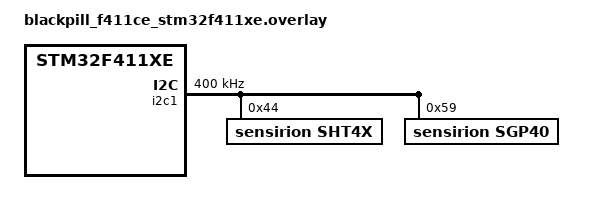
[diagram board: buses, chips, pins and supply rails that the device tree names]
/*
 * Copyright (c) 2021 Leonard Pollak
 *
 * SPDX-License-Identifier: Apache-2.0
 */

&i2c1 {
	status = "okay";
	clock-frequency = <I2C_BITRATE_FAST>;
	sht4x@44 {
		status = "okay";
		compatible = "sensirion,sht4x";
		reg = <0x44>;
		repeatability = <2>;
	};
	sgp40@59 {
		status = "okay";
		compatible = "sensirion,sgp40";
		reg = <0x59>;
		enable-selftest;
	};
};
